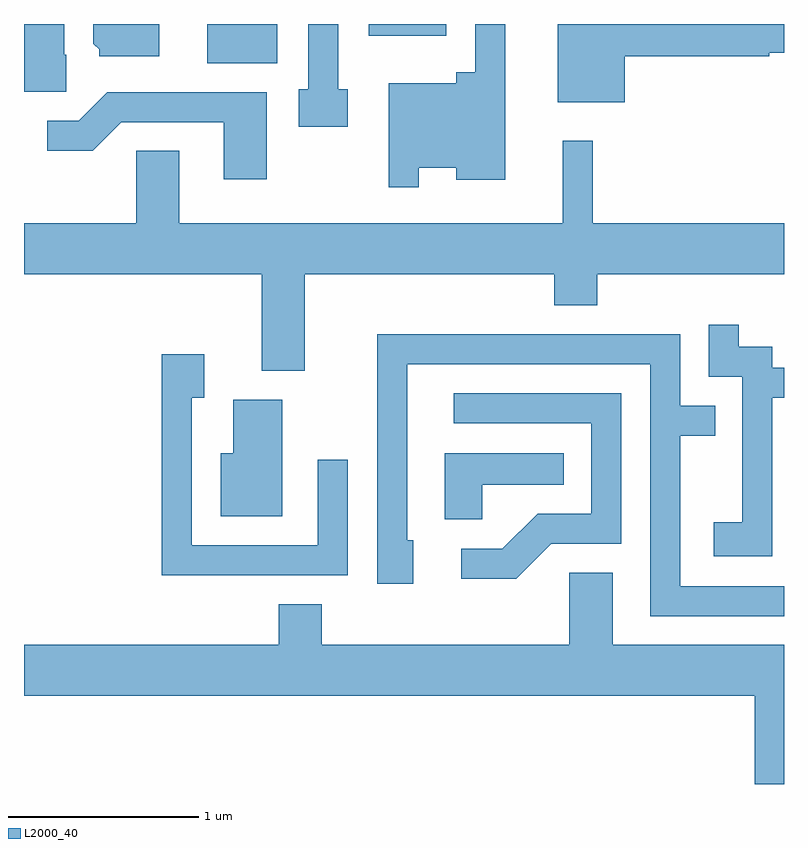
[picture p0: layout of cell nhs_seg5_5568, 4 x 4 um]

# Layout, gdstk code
import gdstk
lib = gdstk.Library(unit=1e-6, precision=1e-09)
def R(c, l, rs):  # rectangles x0, y0, x1, y1
    for r in rs: c.add(gdstk.rectangle(r[:2], r[2:], *l))
def P(c, l, *ps):  # polygons
    for p in ps: c.add(gdstk.Polygon(p, *l))
L2000_40 = (2000, 40)

nhs_seg5_5568 = lib.new_cell('nhs_seg5_5568')
R(nhs_seg5_5568, L2000_40, [(350.576,1497.866,350.944,1498.072), (351.426,1498.011,351.834,1498.072)])
P(nhs_seg5_5568, L2000_40, [(349.834,1497.91),(349.824,1497.91),(349.824,1498.072),(349.611,1498.072),(349.611,1497.716),(349.834,1497.716)],
  [(351.689,1497.316),(351.886,1497.316),(351.886,1497.251),(352.144,1497.251),(352.144,1498.072),(351.986,1498.072),(351.986,1497.819),(351.886,1497.819),(351.886,1497.759),(351.531,1497.759),(351.531,1497.213),(351.689,1497.213)],
  [(351.314,1497.729),(351.264,1497.729),(351.264,1498.072),(351.106,1498.072),(351.106,1497.729),(351.056,1497.729),(351.056,1497.531),(351.314,1497.531)],
  [(352.774,1497.901),(353.534,1497.901),(353.534,1497.921),(353.611,1497.921),(353.611,1498.072),(352.421,1498.072),(352.421,1497.661),(352.774,1497.661)],
  [(350.324,1498.072),(349.976,1498.072),(349.976,1497.969),(350.006,1497.939),(350.006,1497.901),(350.324,1497.901)],
  [(350.889,1497.714),(350.049,1497.714),(349.899,1497.564),(349.733,1497.564),(349.733,1497.406),(349.972,1497.406),(350.122,1497.556),(350.661,1497.556),(350.661,1497.256),(350.889,1497.256)],
  [(351.089,1496.756),(352.401,1496.756),(352.401,1496.591),(352.629,1496.591),(352.629,1496.756),(353.611,1496.756),(353.611,1497.024),(352.604,1497.024),(352.604,1497.458),(352.446,1497.458),(352.446,1497.024),(350.429,1497.024),(350.429,1497.404),(350.201,1497.404),(350.201,1497.024),(349.611,1497.024),(349.611,1496.756),(350.861,1496.756),(350.861,1496.246),(351.089,1496.246)],
  [(353.549,1496.106),(353.611,1496.106),(353.611,1496.264),(353.549,1496.264),(353.549,1496.374),(353.374,1496.374),(353.374,1496.488),(353.216,1496.488),(353.216,1496.216),(353.391,1496.216),(353.391,1495.449),(353.241,1495.449),(353.241,1495.271),(353.549,1495.271)],
  [(353.611,1495.114),(353.064,1495.114),(353.064,1495.906),(353.248,1495.906),(353.248,1496.064),(353.064,1496.064),(353.064,1496.439),(351.471,1496.439),(351.471,1495.126),(351.659,1495.126),(351.659,1495.354),(351.629,1495.354),(351.629,1496.281),(352.906,1496.281),(352.906,1494.956),(353.611,1494.956)],
  [(351.314,1495.778),(351.156,1495.778),(351.156,1495.329),(350.494,1495.329),(350.494,1496.106),(350.559,1496.106),(350.559,1496.334),(350.336,1496.334),(350.336,1495.171),(351.314,1495.171)],
  [(352.387,1495.336),(352.754,1495.336),(352.754,1496.129),(351.873,1496.129),(351.873,1495.971),(352.596,1495.971),(352.596,1495.494),(352.314,1495.494),(352.129,1495.309),(351.913,1495.309),(351.913,1495.151),(352.202,1495.151)],
  [(350.969,1496.094),(350.711,1496.094),(350.711,1495.814),(350.646,1495.814),(350.646,1495.481),(350.969,1495.481)],
  [(352.024,1495.646),(352.453,1495.646),(352.453,1495.814),(351.826,1495.814),(351.826,1495.466),(352.024,1495.466)],
  [(353.611,1494.804),(352.709,1494.804),(352.709,1495.184),(352.481,1495.184),(352.481,1494.804),(351.179,1494.804),(351.179,1495.019),(350.951,1495.019),(350.951,1494.804),(349.611,1494.804),(349.611,1494.536),(353.456,1494.536),(353.456,1494.072),(353.611,1494.072)])

lib.write_gds('nhs_seg5_5568.gds')
